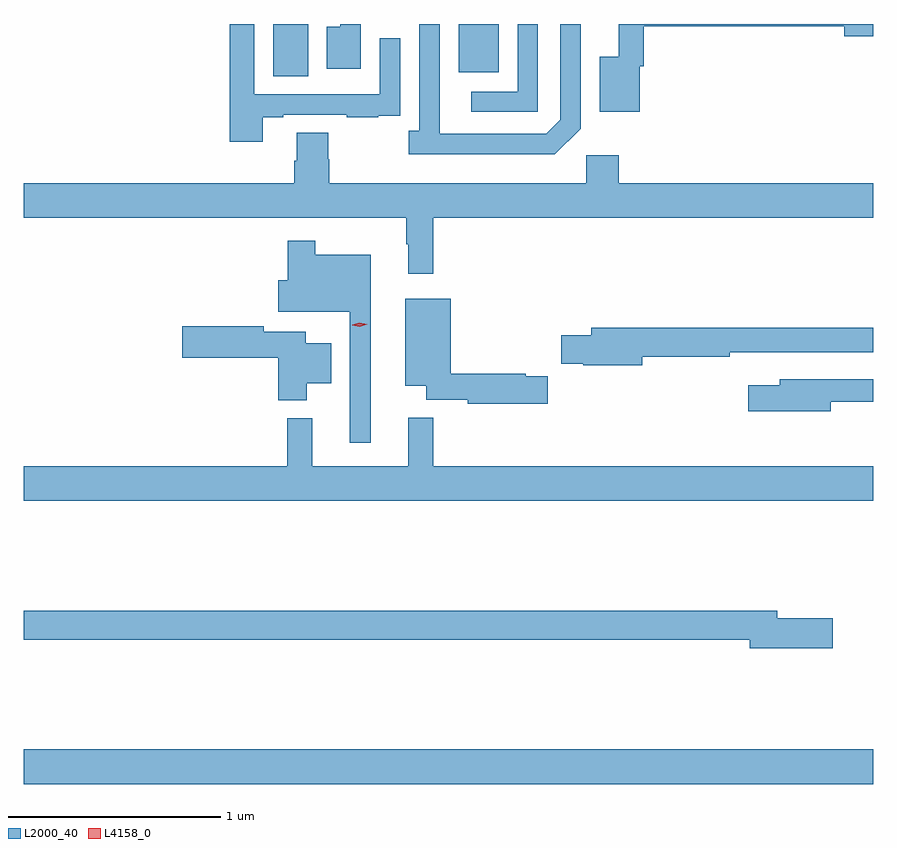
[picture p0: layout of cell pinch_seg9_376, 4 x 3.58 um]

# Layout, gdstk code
import gdstk
lib = gdstk.Library(unit=1e-6, precision=1e-09)
def R(c, l, rs):  # rectangles x0, y0, x1, y1
    for r in rs: c.add(gdstk.rectangle(r[:2], r[2:], *l))
def P(c, l, *ps):  # polygons
    for p in ps: c.add(gdstk.Polygon(p, *l))
L2000_40 = (2000, 40)
L4158_0 = (4158, 0)

pinch_seg9_376 = lib.new_cell('pinch_seg9_376')
R(pinch_seg9_376, L2000_40, [(325.095,1228.388,329.095,1228.552), (326.27,1231.72,326.434,1231.965), (327.143,1231.739,327.331,1231.965)])
P(pinch_seg9_376, L2000_40, [(326.221,1231.527),(326.317,1231.527),(326.317,1231.539),(326.617,1231.539),(326.617,1231.527),(326.765,1231.527),(326.765,1231.533),(326.867,1231.533),(326.867,1231.642),(326.868,1231.642),(326.868,1231.897),(326.772,1231.897),(326.772,1231.635),(326.181,1231.635),(326.181,1231.965),(326.065,1231.965),(326.065,1231.41),(326.221,1231.41)],
  [(327.994,1231.767),(328.013,1231.767),(328.013,1231.954),(328.958,1231.954),(328.958,1231.907),(329.095,1231.907),(329.095,1231.965),(327.896,1231.965),(327.896,1231.81),(327.806,1231.81),(327.806,1231.553),(327.994,1231.553)],
  [(327.717,1231.473),(327.717,1231.965),(327.621,1231.965),(327.621,1231.515),(327.555,1231.449),(327.054,1231.449),(327.054,1231.965),(326.958,1231.965),(326.958,1231.462),(326.907,1231.462),(326.907,1231.352),(327.596,1231.352)],
  [(326.683,1231.965),(326.585,1231.965),(326.585,1231.951),(326.522,1231.951),(326.522,1231.755),(326.683,1231.755)],
  [(327.516,1231.965),(327.42,1231.965),(327.42,1231.647),(327.201,1231.647),(327.201,1231.551),(327.516,1231.551)],
  [(327.023,1231.052),(329.095,1231.052),(329.095,1231.216),(327.896,1231.216),(327.896,1231.348),(327.744,1231.348),(327.744,1231.216),(326.534,1231.216),(326.534,1231.329),(326.529,1231.329),(326.529,1231.454),(326.381,1231.454),(326.381,1231.322),(326.369,1231.322),(326.369,1231.216),(325.095,1231.216),(325.095,1231.052),(326.895,1231.052),(326.895,1230.929),(326.906,1230.929),(326.906,1230.789),(327.023,1230.789)],
  [(326.728,1230.88),(326.467,1230.88),(326.467,1230.946),(326.338,1230.946),(326.338,1230.759),(326.294,1230.759),(326.294,1230.611),(326.631,1230.611),(326.631,1229.994),(326.728,1229.994)],
  [(327.563,1230.308),(327.458,1230.308),(327.458,1230.32),(327.106,1230.32),(327.106,1230.673),(326.891,1230.673),(326.891,1230.263),(326.99,1230.263),(326.99,1230.197),(327.186,1230.197),(327.186,1230.178),(327.563,1230.178)],
  [(326.428,1230.275),(326.542,1230.275),(326.542,1230.463),(326.422,1230.463),(326.422,1230.517),(326.226,1230.517),(326.226,1230.542),(325.842,1230.542),(325.842,1230.395),(326.294,1230.395),(326.294,1230.194),(326.428,1230.194)],
  [(328.006,1230.4),(328.418,1230.4),(328.418,1230.42),(329.095,1230.42),(329.095,1230.536),(327.767,1230.536),(327.767,1230.5),(327.625,1230.5),(327.625,1230.366),(327.73,1230.366),(327.73,1230.358),(328.006,1230.358)],
  [(328.894,1230.186),(329.095,1230.186),(329.095,1230.294),(328.655,1230.294),(328.655,1230.265),(328.506,1230.265),(328.506,1230.143),(328.894,1230.143)],
  [(329.095,1229.884),(327.023,1229.884),(327.023,1230.112),(326.906,1230.112),(326.906,1229.884),(326.453,1229.884),(326.453,1230.109),(326.335,1230.109),(326.335,1229.884),(325.095,1229.884),(325.095,1229.72),(329.095,1229.72)],
  [(328.903,1229.168),(328.642,1229.168),(328.642,1229.204),(325.095,1229.204),(325.095,1229.068),(328.514,1229.068),(328.514,1229.026),(328.903,1229.026)])
P(pinch_seg9_376, L4158_0, [(326.677,1230.54),(326.641,1230.548),(326.641,1230.549),(326.641,1230.549),(326.676,1230.56),(326.712,1230.552),(326.712,1230.552),(326.712,1230.552)])

lib.write_gds('pinch_seg9_376.gds')
